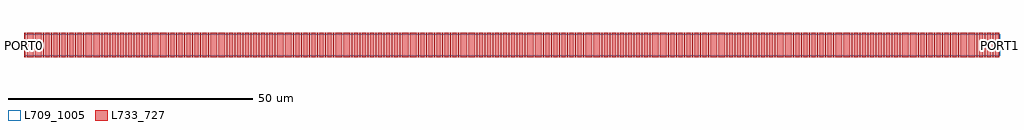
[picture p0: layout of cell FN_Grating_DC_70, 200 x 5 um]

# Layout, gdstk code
import gdstk
lib = gdstk.Library(unit=1e-6, precision=1e-09)
def R(c, l, rs):  # rectangles x0, y0, x1, y1
    for r in rs: c.add(gdstk.rectangle(r[:2], r[2:], *l))
def A(c, l, x, y, w, h, nx, ny, dx, dy):  # array of equal rectangles
    R(c, l, [(x+i*dx, y+j*dy, x+i*dx+w, y+j*dy+h) for i in range(nx) for j in range(ny)])
L709_1005 = (709, 1005)
L733_727 = (733, 727)

fn_grating_dc_70 = lib.new_cell('FN_Grating_DC_70')
R(fn_grating_dc_70, L709_1005, [(0,-2.25,200,2.25)])
A(fn_grating_dc_70, L733_727, 0, -2.5, 0.382, 5, 5, 1, 0.545, 0)
A(fn_grating_dc_70, L733_727, 2.725, -2.5, 0.381, 5, 5, 1, 1.09, 0)
A(fn_grating_dc_70, L733_727, 3.27, -2.5, 0.382, 5, 5, 1, 1.09, 0)
A(fn_grating_dc_70, L733_727, 8.175, -2.5, 0.382, 5, 6, 1, 0.545, 0)
A(fn_grating_dc_70, L733_727, 11.445, -2.5, 0.381, 5, 5, 1, 1.09, 0)
A(fn_grating_dc_70, L733_727, 11.99, -2.5, 0.382, 5, 5, 1, 1.09, 0)
A(fn_grating_dc_70, L733_727, 16.895, -2.5, 0.382, 5, 230, 1, 0.545, 0)
A(fn_grating_dc_70, L733_727, 142.245, -2.5, 0.381, 5, 106, 1, 0.545, 0)
fn_grating_dc_70.add(gdstk.Label('PORT0', (0,0), layer=1001, texttype=3))
fn_grating_dc_70.add(gdstk.Label('PORT1', (200,0), layer=1001, texttype=3))
fn_grating_dc_70.add(gdstk.Label('sub!', (0,0), layer=1002, texttype=6))

lib.write_gds('FN_Grating_DC_70.gds')
